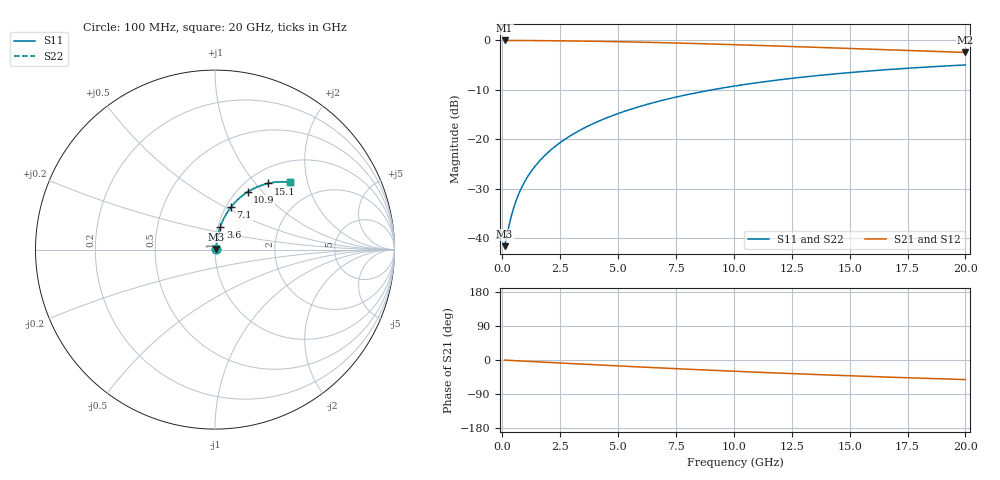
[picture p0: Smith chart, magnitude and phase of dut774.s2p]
! Touchstone file exported from HFSS 2024.1.0
!  File:  C:/UserFiles/LocalFiles/RDL_TSV_Batchsim/temp_RDL_bottom_774_1779860784.aedt
!  Generated:  01:48:52 PM May 27, 2026
!  Design:  RDL_bottom
!  Project:  temp_RDL_bottom_774_1779860784
!  Setup:  Setup1
!  Solution:  Sweep
! Variables:
!  dtsv = 10.80580581um
!  hbump = 3um
!  htsv = 82.06um
!  ldown = 645.72um
!  lrdl = 100um
!  p = 40
!  p1 = 57.91um
!  rhole = 1um
!  t = 450um
!  tdown = 2.42um
!  trdl = 3.915915916um
!  wdown = 12.83um
!  wrdl = 20um
# GHz S MA R 50.000000
! Terminal data exported
! Port[1] = RDL1_T1
! Port[2] = RDL1_T2
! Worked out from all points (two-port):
!   200 points, 100 MHz to 20 GHz, reference 50 ohm
!   highest |S21| = -0.06 dB at 100 MHz (marker M1); lowest = -2.5 dB at 20 GHz (marker M2)
!   |S21| within 3 dB of the highest: start of sweep to end of sweep
!   lowest |S11| = -41.6 dB at 100 MHz (marker M3), VSWR 1.02, Z = 50.7 + j0.388 ohm
!   |S11| at or under -10 dB: start of sweep to 9.084 GHz
!   |S22| runs from -41.6 to -5.0 dB; largest |S21 - S12| = 2.6e-15
!   S11 on the Smith chart (normalised r, x): 100 MHz: 1.01, +0.01; 3.6 GHz: 1.03, +0.27; 7.1 GHz: 1.06, +0.54; 10.9 GHz: 1.12, +0.83; 15.1 GHz: 1.23, +1.17; 20 GHz: 1.43, +1.57
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0.1  0.008355 27.3  0.9926 -0.3  0.9926 -0.3  0.008355 27.3
! Gamma 0 0 0 0
! Port Impedance 50 0 50 0
0.3  0.01379 56.0  0.9923 -1.0  0.9923 -1.0  0.01379 56.0
0.4  0.01714 62.4  0.9922 -1.3  0.9922 -1.3  0.01714 62.4
0.6  0.02417 69.4  0.9917 -2.0  0.9917 -2.0  0.02417 69.4
0.7  0.02775 71.4  0.9914 -2.3  0.9914 -2.3  0.02775 71.4
0.9  0.03493 74.1  0.9909 -2.9  0.9909 -2.9  0.03493 74.1
1.2  0.04573 76.2  0.9899 -3.9  0.9899 -3.9  0.04573 76.2
1.7  0.06377 77.7  0.9881 -5.4  0.9881 -5.4  0.06377 77.7
2.2  0.08183 78.1  0.9858 -7.0  0.9858 -7.0  0.08182 78.1
2.8  0.1035 77.8  0.9824 -8.9  0.9824 -8.9  0.1035 77.8
3.5  0.1286 76.9  0.9776 -11.1  0.9776 -11.1  0.1286 76.9
3.6  0.1322 76.7  0.9769 -11.4  0.9769 -11.4  0.1322 76.7
5  0.1818 74.1  0.9645 -15.6  0.9645 -15.6  0.1818 74.1
6.8  0.2433 70.1  0.9444 -20.9  0.9444 -20.9  0.2433 70.1
7.1  0.2533 69.4  0.9406 -21.8  0.9406 -21.8  0.2532 69.4
8.5  0.2982 66.1  0.922 -25.7  0.922 -25.7  0.2982 66.1
10.1  0.3464 62.3  0.899 -29.9  0.899 -29.9  0.3464 62.3
10.9  0.3692 60.5  0.8871 -32.0  0.8871 -32.0  0.3691 60.4
13.4  0.434 54.9  0.8487 -38.0  0.8487 -38.0  0.4339 54.8
15.1  0.4727 51.3  0.8226 -41.9  0.8226 -41.9  0.4727 51.3
16.7  0.5054 48.1  0.7985 -45.3  0.7985 -45.3  0.5054 48.0
20  0.5623 42.0  0.7513 -51.7  0.7513 -51.7  0.5622 41.9
